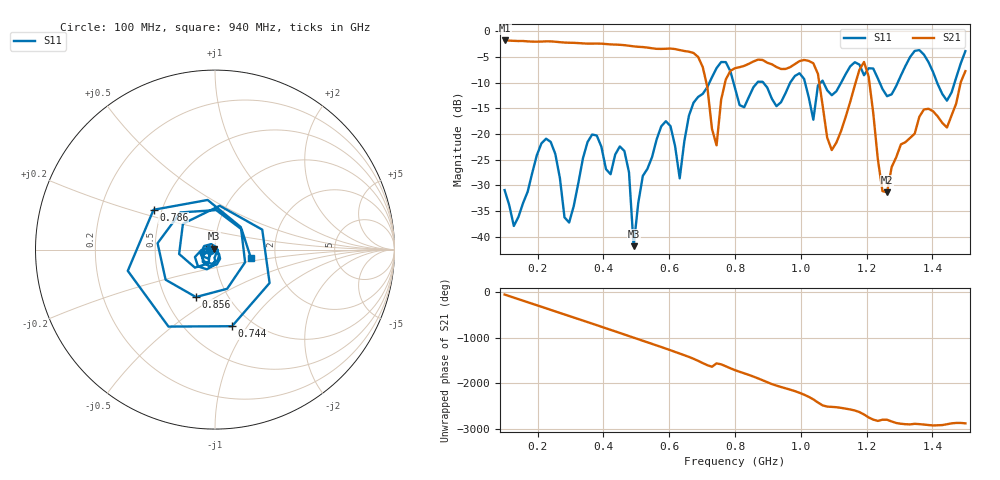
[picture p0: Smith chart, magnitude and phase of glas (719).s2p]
! NanoVNA-App
! Date: 2025-09-25 16:01:04
! Start: 100MHz Stop: 1,5GHz Points: 101
! S-Parameter data: F S11 S21 S12 S22
# Hz S RI R 50
!  Frequency  S11_Real  S11_Imag  S21_Real  S21_Imag  S12_Real  S12_Imag  S22_Real  S22_Imag
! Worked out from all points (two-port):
!   101 points, 100 MHz to 1.5 GHz, reference 50 ohm
!   highest |S21| = -1.80 dB at 100 MHz (marker M1); lowest = -31.3 dB at 1.262 GHz (marker M2)
!   |S21| within 3 dB of the highest: start of sweep to 684.2 MHz
!   lowest |S11| = -41.8 dB at 492 MHz (marker M3), VSWR 1.02, Z = 49.5 + j0.604 ohm
!   |S11| at or under -10 dB: start of sweep to 722.4 MHz; 795.4 MHz to 867.8 MHz (72.38 MHz wide, 8.7 % of centre); 885.9 MHz to 967.8 MHz (81.87 MHz wide, 8.83 % of centre) (the widest 3 of 7)
!   S12 and S22 are empty: the file has one direction only
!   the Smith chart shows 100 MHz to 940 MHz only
!   S11 on the Smith chart (normalised r, x): 100 MHz: 0.94, -0.01; 744 MHz: 0.81, -0.85; 786 MHz: 0.45, +0.24; 856 MHz: 0.71, -0.41; 940 MHz: 1.49, -0.14
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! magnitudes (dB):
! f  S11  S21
! 100 MHz  -30.9  -1.8
! 128 MHz  -37.9  -1.9
! 226 MHz  -20.9  -2.0
! 296 MHz  -37.2  -2.2
! 338 MHz  -24.7  -2.4
! 464 MHz  -23.3  -2.7
! 492 MHz  -41.8  -3.0
! 576 MHz  -18.5  -3.4
! 632 MHz  -28.6  -3.7
! 702 MHz  -12.2  -7.0
! 744 MHz  -7.2  -22.2
! 786 MHz  -7.8  -7.7
! 800 MHz  -11.1  -7.2
! 856 MHz  -10.9  -5.9
! 940 MHz  -13.8  -7.4
! 996 MHz  -8.2  -5.8
! 1.038 GHz  -17.2  -6.2
! 1.094 GHz  -12.5  -23.1
! 1.192 GHz  -8.6  -6.0
! 1.262 GHz  -12.7  -31.3
! 1.276 GHz  -12.3  -26.4
! 1.5 GHz  -3.9  -7.8
